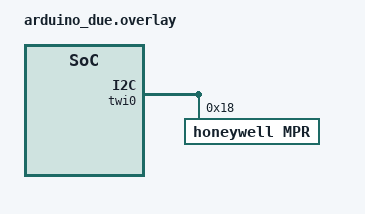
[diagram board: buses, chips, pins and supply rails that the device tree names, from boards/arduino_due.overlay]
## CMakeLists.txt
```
# SPDX-License-Identifier: Apache-2.0

cmake_minimum_required(VERSION 3.13.1)
include($ENV{ZEPHYR_BASE}/cmake/app/boilerplate.cmake NO_POLICY_SCOPE)
project(mpr)

FILE(GLOB app_sources src/*.c)
target_sources(app PRIVATE ${app_sources})
```

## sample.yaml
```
sample:
  name: MPR Pressure Sensor
tests:
  sample.sensor.mpr:
    harness: sensor
    tags: sensors
    depends_on: i2c
    platform_allow: arduino_due
    integration_platforms:
      - arduino_due
```

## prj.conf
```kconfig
CONFIG_STDOUT_CONSOLE=y
CONFIG_I2C=y
CONFIG_SENSOR=y
CONFIG_MPR=y
```

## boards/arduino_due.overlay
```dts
/*
 * Copyright (c) 2020, Sven Herrmann
 *
 * SPDX-License-Identifier: Apache-2.0
 */

&twi0 {
    mpr@18 {
        compatible = "honeywell,mpr";
        reg = <0x18>;
        label = "MPR";
    };
};
```

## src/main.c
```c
/*
 * Copyright (c) 2020 Sven Herrmann
 *
 * SPDX-License-Identifier: Apache-2.0
 */

#include <zephyr.h>
#include <device.h>
#include <drivers/sensor.h>
#include <stdio.h>

void main(void)
{
	const char *const devname = DT_LABEL(DT_INST(0, honeywell_mpr));
	const struct device *dev = device_get_binding(devname);
	int rc;

	if (dev == NULL) {
		printf("Device %s not found.\n", devname);
		return;
	}

	while (1) {
		struct sensor_value pressure;

		rc = sensor_sample_fetch(dev);
		if (rc != 0) {
			printf("sensor_sample_fetch error: %d\n", rc);
			break;
		}

		rc = sensor_channel_get(dev, SENSOR_CHAN_PRESS, &pressure);
		if (rc != 0) {
			printf("sensor_channel_get error: %d\n", rc);
			break;
		}

		printf("pressure: %u.%u kPa\n", pressure.val1, pressure.val2);

		k_sleep(K_SECONDS(1));
	}
}
```
